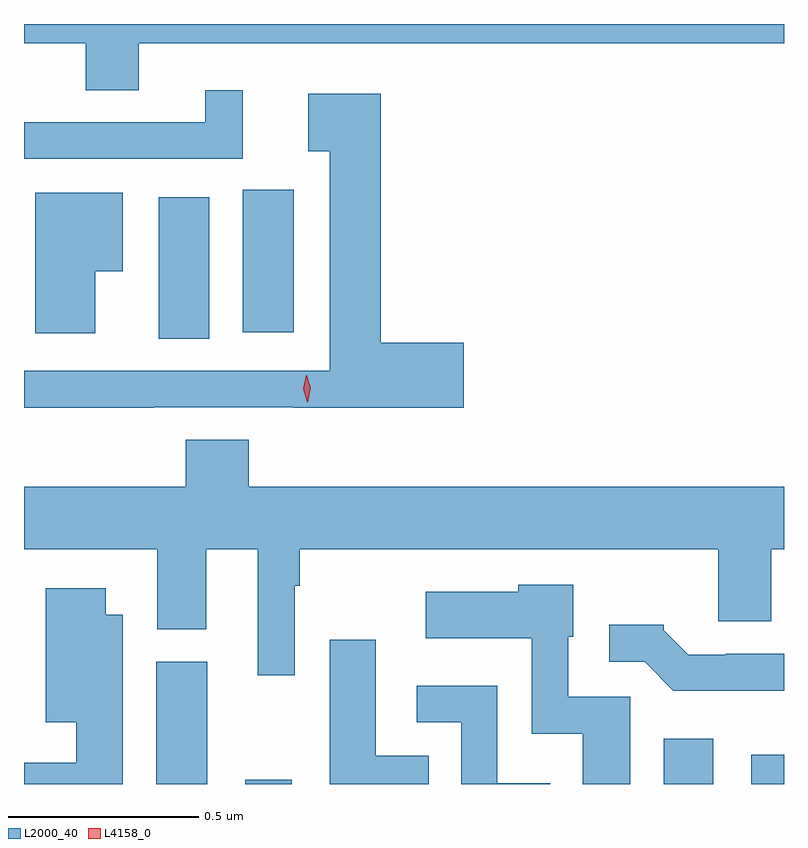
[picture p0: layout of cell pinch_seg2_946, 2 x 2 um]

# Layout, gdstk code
import gdstk
lib = gdstk.Library(unit=1e-6, precision=1e-09)
def R(c, l, rs):  # rectangles x0, y0, x1, y1
    for r in rs: c.add(gdstk.rectangle(r[:2], r[2:], *l))
def P(c, l, *ps):  # polygons
    for p in ps: c.add(gdstk.Polygon(p, *l))
L2000_40 = (2000, 40)
L4158_0 = (4158, 0)

pinch_seg2_946 = lib.new_cell('pinch_seg2_946')
R(pinch_seg2_946, L2000_40, [(603.356,641.69,603.49,642.012), (603.59,641.69,603.712,641.701), (604.691,641.69,604.822,641.809), (604.922,641.69,605.008,641.767), (603.362,642.862,603.496,643.234), (603.584,642.879,603.718,643.254)])
P(pinch_seg2_946, L2000_40, [(603.31,643.64),(605.008,643.64),(605.008,643.69),(603.008,643.69),(603.008,643.64),(603.17,643.64),(603.17,643.516),(603.31,643.516)],
  [(603.583,643.516),(603.485,643.516),(603.485,643.431),(603.008,643.431),(603.008,643.335),(603.583,643.335)],
  [(603.35,642.681),(603.716,642.681),(603.716,642.68),(604.165,642.68),(604.165,642.851),(603.947,642.851),(603.947,643.507),(603.756,643.507),(603.756,643.355),(603.812,643.355),(603.812,642.777),(603.008,642.777),(603.008,642.68),(603.35,642.68)],
  [(603.196,643.04),(603.268,643.04),(603.268,643.246),(603.038,643.246),(603.038,642.876),(603.196,642.876)],
  [(603.72,642.212),(603.733,642.212),(603.733,642.308),(604.835,642.308),(604.835,642.118),(604.975,642.118),(604.975,642.308),(605.008,642.308),(605.008,642.472),(603.599,642.472),(603.599,642.596),(603.434,642.596),(603.434,642.472),(603.008,642.472),(603.008,642.308),(603.359,642.308),(603.359,642.097),(603.487,642.097),(603.487,642.308),(603.623,642.308),(603.623,641.976),(603.72,641.976)],
  [(604.603,641.919),(604.44,641.919),(604.44,642.078),(604.453,642.078),(604.453,642.214),(604.308,642.214),(604.308,642.196),(604.065,642.196),(604.065,642.074),(604.344,642.074),(604.344,641.822),(604.478,641.822),(604.478,641.69),(604.603,641.69)],
  [(603.268,642.136),(603.223,642.136),(603.223,642.205),(603.065,642.205),(603.065,641.852),(603.146,641.852),(603.146,641.746),(603.008,641.746),(603.008,641.69),(603.268,641.69)],
  [(605.008,642.033),(604.855,642.033),(604.855,642.03),(604.756,642.03),(604.692,642.094),(604.692,642.109),(604.548,642.109),(604.548,642.012),(604.641,642.012),(604.717,641.936),(605.008,641.936)],
  [(604.073,641.764),(603.934,641.764),(603.934,642.07),(603.812,642.07),(603.812,641.69),(604.073,641.69)],
  [(604.393,641.692),(604.254,641.692),(604.254,641.949),(604.041,641.949),(604.041,641.853),(604.158,641.853),(604.158,641.69),(604.393,641.69)])
P(pinch_seg2_946, L4158_0, [(603.754,642.694),(603.743,642.73),(603.751,642.766),(603.751,642.766),(603.752,642.766),(603.763,642.731),(603.755,642.694),(603.755,642.694)])

lib.write_gds('pinch_seg2_946.gds')
